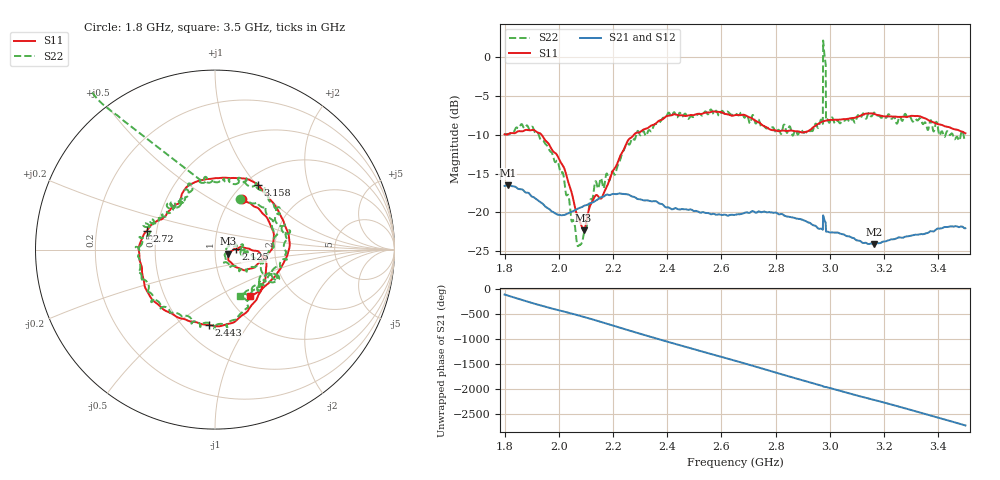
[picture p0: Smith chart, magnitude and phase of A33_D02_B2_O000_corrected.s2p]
! Created with skrf 1.9.0 (http://scikit-rf.org).
# Hz S RI R 50.0
!freq ReS11 ImS11 ReS21 ImS21 ReS12 ImS12 ReS22 ImS22
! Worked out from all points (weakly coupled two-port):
!   1601 points, 1.8 GHz to 3.5 GHz, reference 50 ohm
!   highest |S21| = -16.52 dB at 1.812 GHz (marker M1); lowest = -24.1 dB at 3.163 GHz (marker M2)
!   lowest |S11| = -22.3 dB at 2.091 GHz (marker M3), VSWR 1.17, Z = 57.8 - j2.64 ohm
!   |S11| at or under -10 dB: 1.805643 GHz to 1.806898 GHz (1.255 MHz wide, 0.0695 % of centre); 1.936 GHz to 2.277 GHz (340.9 MHz wide, 16.2 % of centre)
!   |S22| runs from -24.4 to 2.1 dB; largest |S21 - S12| = 0.0026
!   S11 on the Smith chart (normalised r, x): 1.8 GHz: 1.12, +0.70; 2.125 GHz: 1.27, +0.01; 2.443 GHz: 0.66, -0.67; 2.72 GHz: 0.44, +0.11; 3.158 GHz: 1.14, +1.02; 3.5 GHz: 1.26, -0.72
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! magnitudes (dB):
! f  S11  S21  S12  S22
! 1.8 GHz  -9.9  -16.6  -16.6  -10.0
! 1.812 GHz  -9.9  -16.5  -16.5  -9.9
! 1.953 GHz  -10.8  -19.3  -19.3  -11.3
! 2.019 GHz  -14.2  -20.3  -20.4  -15.6
! 2.069 GHz  -20.4  -19.5  -19.6  -24.3
! 2.084 GHz  -21.8  -19.3  -19.3  -24.0
! 2.091 GHz  -22.3  -19.2  -19.2  -22.9
! 2.125 GHz  -18.5  -18.7  -18.7  -18.1
! 2.259 GHz  -10.6  -17.7  -17.7  -11.3
! 2.367 GHz  -8.3  -18.8  -18.7  -8.5
! 2.443 GHz  -7.5  -19.6  -19.6  -7.3
! 2.65 GHz  -7.5  -20.3  -20.3  -7.4
! 2.72 GHz  -8.1  -19.9  -19.8  -7.8
! 2.934 GHz  -9.2  -21.6  -21.5  -9.5
! 2.966 GHz  -8.4  -22.1  -22.1  -8.1
! 2.976 GHz  -8.3  -20.5  -20.5  1.7
! 2.984 GHz  -8.2  -21.3  -21.3  -0.7
! 2.994 GHz  -8.1  -22.5  -22.5  -8.3
! 3.158 GHz  -7.3  -24.1  -24.0  -7.4
! 3.163 GHz  -7.3  -24.1  -24.1  -7.1
! 3.217 GHz  -7.6  -23.6  -23.6  -7.4
! 3.5 GHz  -9.8  -22.1  -22.0  -10.7
